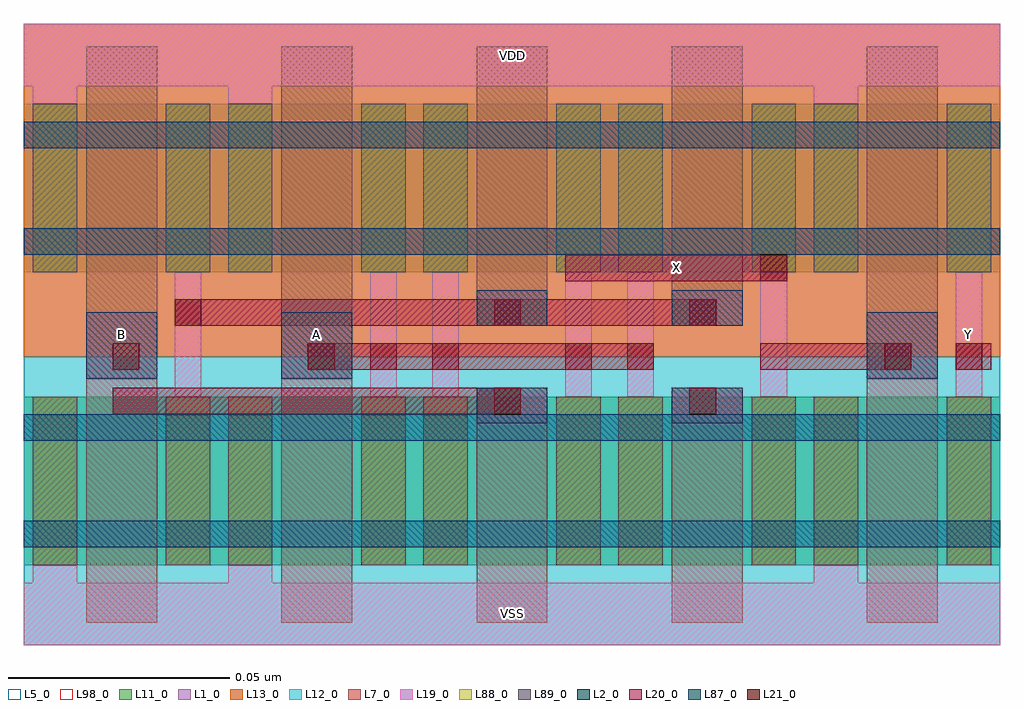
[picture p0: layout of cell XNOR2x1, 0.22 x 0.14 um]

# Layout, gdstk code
import gdstk
lib = gdstk.Library(unit=1e-6, precision=1e-12)
def R(c, l, rs):  # rectangles x0, y0, x1, y1
    for r in rs: c.add(gdstk.rectangle(r[:2], r[2:], *l))
def A(c, l, x, y, w, h, nx, ny, dx, dy):  # array of equal rectangles
    R(c, l, [(x+i*dx, y+j*dy, x+i*dx+w, y+j*dy+h) for i in range(nx) for j in range(ny)])
L1_0 = (1, 0)
L2_0 = (2, 0)
L5_0 = (5, 0)
L7_0 = (7, 0)
L11_0 = (11, 0)
L12_0 = (12, 0)
L13_0 = (13, 0)
L19_0 = (19, 0)
L20_0 = (20, 0)
L21_0 = (21, 0)
L87_0 = (87, 0)
L88_0 = (88, 0)
L89_0 = (89, 0)
L98_0 = (98, 0)

xnor2x1 = lib.new_cell('XNOR2x1')
R(xnor2x1, L1_0, [(0,0.065,0.22,0.14)])
R(xnor2x1, L2_0, [(0,0.022,0.22,0.028), (0,0.046,0.22,0.052), (0,0.088,0.22,0.094), (0,0.112,0.22,0.118)])
R(xnor2x1, L5_0, [(0,0,0.22,0.14)])
R(xnor2x1, L7_0, [(0.014,0.005,0.03,0.135), (0.058,0.005,0.074,0.135), (0.102,0.005,0.118,0.058), (0.146,0.005,0.162,0.058), (0.19,0.005,0.206,0.135), (0.102,0.072,0.118,0.135), (0.146,0.072,0.162,0.135)])
R(xnor2x1, L11_0, [(0,0.018,0.22,0.056), (0,0.084,0.22,0.122)])
R(xnor2x1, L12_0, [(0,0,0.22,0.065)])
R(xnor2x1, L13_0, [(0,0.065,0.22,0.14)])
R(xnor2x1, L19_0, [(0,0,0.22,0.014), (0.002,0,0.012,0.018), (0.046,0,0.056,0.018), (0.178,0,0.188,0.018), (0.102,0.05,0.118,0.058), (0.146,0.05,0.162,0.058), (0.034,0.056,0.04,0.084), (0.078,0.056,0.084,0.084), (0.092,0.056,0.098,0.084), (0.122,0.056,0.128,0.084), (0.136,0.056,0.142,0.084), (0.166,0.056,0.172,0.084), (0.21,0.056,0.216,0.084), (0.014,0.06,0.03,0.075), (0.058,0.06,0.074,0.075), (0.19,0.06,0.206,0.075), (0.102,0.072,0.118,0.08), (0.146,0.072,0.162,0.08), (0.002,0.122,0.012,0.14), (0.046,0.122,0.056,0.14), (0.178,0.122,0.188,0.14), (0,0.126,0.22,0.14)])
R(xnor2x1, L20_0, [(0.02,0.052,0.112,0.058), (0.064,0.062,0.098,0.068), (0.078,0.062,0.142,0.068), (0.166,0.062,0.2,0.068), (0.21,0.062,0.218,0.068), (0.034,0.072,0.156,0.078), (0.122,0.082,0.172,0.088)])
A(xnor2x1, L21_0, 0.064, 0.062, 0.006, 0.006, 3, 1, 0.014, 0)
R(xnor2x1, L21_0, [(0.106,0.052,0.112,0.058), (0.15,0.052,0.156,0.058), (0.02,0.062,0.026,0.068), (0.122,0.062,0.128,0.068), (0.136,0.062,0.142,0.068), (0.194,0.062,0.2,0.068), (0.21,0.062,0.216,0.068), (0.034,0.072,0.04,0.078), (0.106,0.072,0.112,0.078), (0.15,0.072,0.156,0.078), (0.166,0.082,0.172,0.088)])
R(xnor2x1, L87_0, [(0.102,0.05,0.118,0.058), (0.146,0.05,0.162,0.058), (0.014,0.06,0.03,0.075), (0.058,0.06,0.074,0.075), (0.19,0.06,0.206,0.075), (0.102,0.072,0.118,0.08), (0.146,0.072,0.162,0.08)])
R(xnor2x1, L88_0, [(0.002,0.018,0.012,0.056), (0.032,0.018,0.042,0.056), (0.046,0.018,0.056,0.056), (0.076,0.018,0.086,0.056), (0.09,0.018,0.1,0.056), (0.12,0.018,0.13,0.056), (0.134,0.018,0.144,0.056), (0.164,0.018,0.174,0.056), (0.178,0.018,0.188,0.056), (0.208,0.018,0.218,0.056), (0.002,0.084,0.012,0.122), (0.032,0.084,0.042,0.122), (0.046,0.084,0.056,0.122), (0.076,0.084,0.086,0.122), (0.09,0.084,0.1,0.122), (0.12,0.084,0.13,0.122), (0.134,0.084,0.144,0.122), (0.164,0.084,0.174,0.122), (0.178,0.084,0.188,0.122), (0.208,0.084,0.218,0.122)])
R(xnor2x1, L89_0, [(0.002,0.018,0.012,0.056), (0.032,0.018,0.042,0.056), (0.046,0.018,0.056,0.056), (0.076,0.018,0.086,0.056), (0.09,0.018,0.1,0.056), (0.12,0.018,0.13,0.056), (0.134,0.018,0.144,0.056), (0.164,0.018,0.174,0.056), (0.178,0.018,0.188,0.056), (0.208,0.018,0.218,0.056), (0.002,0.084,0.012,0.122), (0.032,0.084,0.042,0.122), (0.046,0.084,0.056,0.122), (0.076,0.084,0.086,0.122), (0.09,0.084,0.1,0.122), (0.12,0.084,0.13,0.122), (0.134,0.084,0.144,0.122), (0.164,0.084,0.174,0.122), (0.178,0.084,0.188,0.122), (0.208,0.084,0.218,0.122)])
R(xnor2x1, L98_0, [(0,0,0.22,0.14)])
xnor2x1.add(gdstk.Label('A', (0.066,0.07), layer=101, texttype=0))
xnor2x1.add(gdstk.Label('B', (0.022,0.07), layer=101, texttype=0))
xnor2x1.add(gdstk.Label('X', (0.147,0.085), layer=101, texttype=0))
xnor2x1.add(gdstk.Label('Y', (0.213,0.07), layer=101, texttype=0))
xnor2x1.add(gdstk.Label('VDD', (0.11,0.133), layer=101, texttype=0))
xnor2x1.add(gdstk.Label('VSS', (0.11,0.007), layer=101, texttype=0))

lib.write_gds('XNOR2x1.gds')
